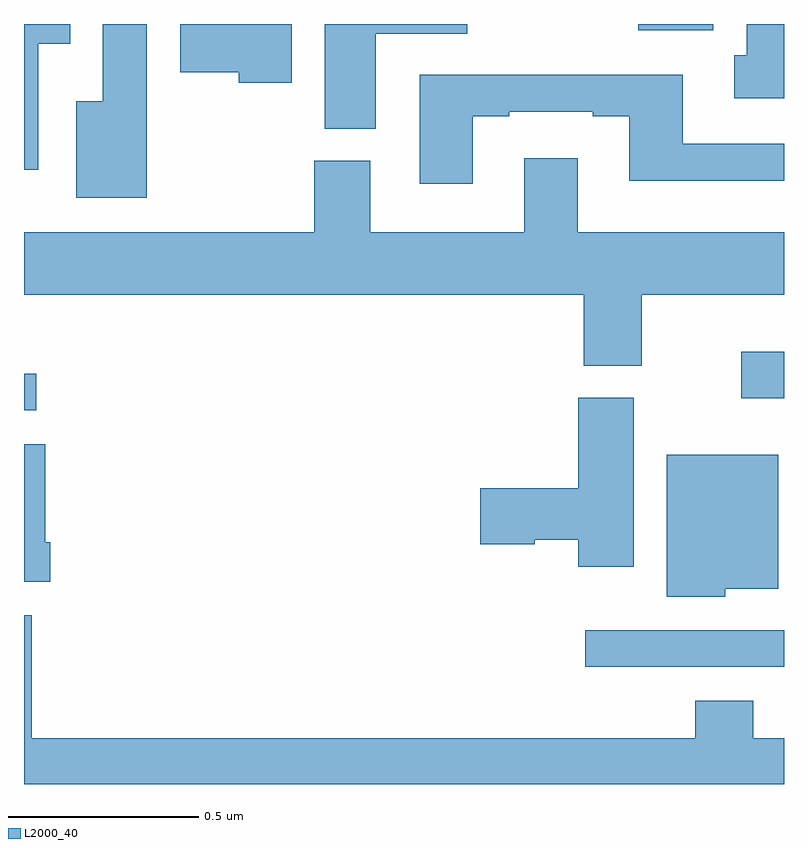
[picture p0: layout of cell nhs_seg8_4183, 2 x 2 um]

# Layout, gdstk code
import gdstk
lib = gdstk.Library(unit=1e-6, precision=1e-09)
def R(c, l, rs):  # rectangles x0, y0, x1, y1
    for r in rs: c.add(gdstk.rectangle(r[:2], r[2:], *l))
def P(c, l, *ps):  # polygons
    for p in ps: c.add(gdstk.Polygon(p, *l))
L2000_40 = (2000, 40)

nhs_seg8_4183 = lib.new_cell('nhs_seg8_4183')
R(nhs_seg8_4183, L2000_40, [(168.477,1094.208,169,1094.304), (167,1094.883,167.032,1094.979), (168.888,1094.915,169,1095.037), (168.617,1095.884,168.814,1095.9)])
P(nhs_seg8_4183, L2000_40, [(167.704,1095.9),(167.411,1095.9),(167.411,1095.773),(167.565,1095.773),(167.565,1095.746),(167.704,1095.746)],
  [(167.038,1095.848),(167.122,1095.848),(167.122,1095.9),(167,1095.9),(167,1095.516),(167.038,1095.516)],
  [(169,1095.9),(168.902,1095.9),(168.902,1095.818),(168.869,1095.818),(168.869,1095.705),(169,1095.705)],
  [(167.323,1095.9),(167.207,1095.9),(167.207,1095.697),(167.138,1095.697),(167.138,1095.443),(167.323,1095.443)],
  [(167.926,1095.875),(168.166,1095.875),(168.166,1095.9),(167.792,1095.9),(167.792,1095.625),(167.926,1095.625)],
  [(168.181,1095.657),(168.277,1095.657),(168.277,1095.669),(168.497,1095.669),(168.497,1095.657),(168.593,1095.657),(168.593,1095.488),(169,1095.488),(169,1095.585),(168.733,1095.585),(168.733,1095.766),(168.041,1095.766),(168.041,1095.48),(168.181,1095.48)],
  [(168.625,1095.188),(169,1095.188),(169,1095.352),(168.457,1095.352),(168.457,1095.547),(168.317,1095.547),(168.317,1095.352),(167.911,1095.352),(167.911,1095.54),(167.764,1095.54),(167.764,1095.352),(167,1095.352),(167,1095.188),(168.473,1095.188),(168.473,1095.001),(168.625,1095.001)],
  [(168.604,1094.916),(168.458,1094.916),(168.458,1094.678),(168.201,1094.678),(168.201,1094.531),(168.344,1094.531),(168.344,1094.543),(168.458,1094.543),(168.458,1094.472),(168.604,1094.472)],
  [(167.069,1094.536),(167.056,1094.536),(167.056,1094.794),(167,1094.794),(167,1094.432),(167.069,1094.432)],
  [(168.846,1094.414),(168.985,1094.414),(168.985,1094.767),(168.692,1094.767),(168.692,1094.393),(168.846,1094.393)],
  [(169,1094.02),(168.919,1094.02),(168.919,1094.119),(168.767,1094.119),(168.767,1094.02),(167.021,1094.02),(167.021,1094.344),(167,1094.344),(167,1093.9),(169,1093.9)])

lib.write_gds('nhs_seg8_4183.gds')
